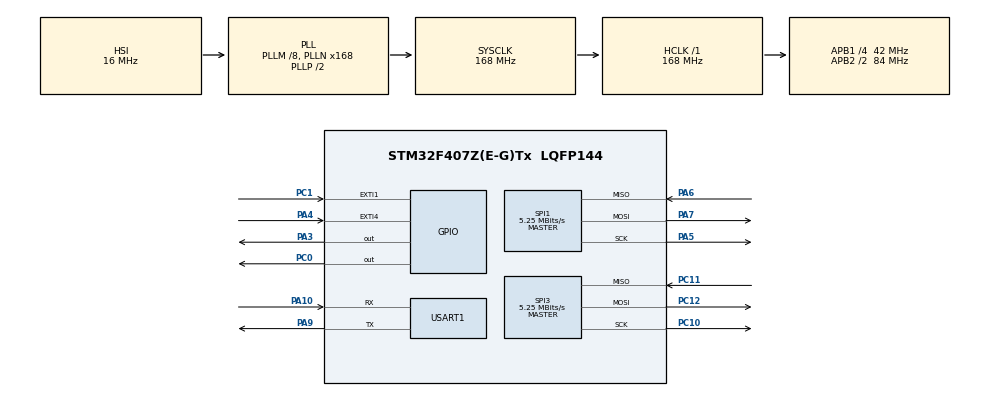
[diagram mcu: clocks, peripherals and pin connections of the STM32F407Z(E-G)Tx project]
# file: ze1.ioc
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FREERTOS.BinarySemaphores01=xa1,Dynamic,NULL;xa2,Dynamic,NULL
FREERTOS.Tasks01=x1Task,24,512,StartTask01,Default,NULL,Dynamic,NULL,NULL;x2Task,24,512,StartTask02,Default,NULL,Dynamic,NULL,NULL;x3Task,8,128,StartTask03,Default,NULL,Dynamic,NULL,NULL
Mcu.Family=STM32F4
Mcu.Name=STM32F407Z(E-G)Tx
Mcu.Package=LQFP144
NVIC.EXTI1_IRQn=true\:5\:0\:false\:false\:true\:true\:true\:true
NVIC.EXTI4_IRQn=true\:5\:0\:false\:false\:true\:true\:true\:true
NVIC.PriorityGroup=NVIC_PRIORITYGROUP_4
NVIC.TIM7_IRQn=true\:0\:0\:false\:false\:true\:false\:false\:true
NVIC.TimeBase=TIM7_IRQn
NVIC.TimeBaseIP=TIM7
PA10.Mode=Asynchronous
PA10.Signal=USART1_RX
PA3.Signal=GPIO_Output
PA4.GPIO_ModeDefaultEXTI=GPIO_MODE_IT_FALLING
PA4.Signal=GPXTI4
PA5.Mode=Full_Duplex_Master
PA5.Signal=SPI1_SCK
PA6.Mode=Full_Duplex_Master
PA6.Signal=SPI1_MISO
PA7.Mode=Full_Duplex_Master
PA7.Signal=SPI1_MOSI
PA9.Mode=Asynchronous
PA9.Signal=USART1_TX
PC0.Signal=GPIO_Output
PC1.GPIO_ModeDefaultEXTI=GPIO_MODE_IT_FALLING
PC1.Signal=GPXTI1
PC10.Mode=Full_Duplex_Master
PC10.Signal=SPI3_SCK
PC11.Mode=Full_Duplex_Master
PC11.Signal=SPI3_MISO
PC12.Mode=Full_Duplex_Master
PC12.Signal=SPI3_MOSI
ProjectManager.HeapSize=0x200
ProjectManager.StackSize=0x400
ProjectManager.TargetToolchain=MDK-ARM V5.27
RCC.48MHZClocksFreq_Value=84000000
RCC.AHBFreq_Value=168000000
RCC.APB1CLKDivider=RCC_HCLK_DIV4
RCC.APB1Freq_Value=42000000
RCC.APB1TimFreq_Value=84000000
RCC.APB2CLKDivider=RCC_HCLK_DIV2
RCC.APB2Freq_Value=84000000
RCC.APB2TimFreq_Value=168000000
RCC.CortexFreq_Value=168000000
RCC.HCLKFreq_Value=168000000
RCC.HSE_VALUE=25000000
RCC.HSI_VALUE=16000000
RCC.LSE_VALUE=32768
RCC.PLLM=8
RCC.PLLN=168
RCC.SYSCLKFreq_VALUE=168000000
RCC.SYSCLKSource=RCC_SYSCLKSOURCE_PLLCLK
RCC.VCOOutputFreq_Value=336000000
SPI1.BaudRatePrescaler=SPI_BAUDRATEPRESCALER_16
SPI1.CalculateBaudRate=5.25 MBits/s
SPI1.Direction=SPI_DIRECTION_2LINES
SPI1.Mode=SPI_MODE_MASTER
SPI1.VirtualType=VM_MASTER
SPI3.BaudRatePrescaler=SPI_BAUDRATEPRESCALER_8
SPI3.CalculateBaudRate=5.25 MBits/s
SPI3.Direction=SPI_DIRECTION_2LINES
SPI3.Mode=SPI_MODE_MASTER
SPI3.VirtualType=VM_MASTER
USART1.VirtualMode=VM_ASYNC
VP_FREERTOS_VS_CMSIS_V2.Mode=CMSIS_V2
VP_SYS_VS_tim7.Mode=TIM7
board=custom

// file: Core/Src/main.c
/* USER CODE BEGIN Header */
/**
  ******************************************************************************
  * @file           : main.c
  * @brief          : Main program body
  ******************************************************************************
  * @attention
  *
  * <h2><center>&copy; Copyright (c) 2021 STMicroelectronics.
  * All rights reserved.</center></h2>
  *
  * This software component is licensed by ST under BSD 3-Clause license,
  * the "License"; You may not use this file except in compliance with the
  * License. You may obtain a copy of the License at:
  *                        opensource.org/licenses/BSD-3-Clause
  *
  ******************************************************************************
  */
/* USER CODE END Header */
#include "main.h"
#include "cmsis_os.h"
#include "spi.h"
#include "usart.h"
#include "gpio.h"

void SystemClock_Config(void);
void MX_FREERTOS_Init(void);

/* USER CODE BEGIN 0 */
int fputc(int ch,FILE *f)
{
    uint8_t temp[1]={ch};
    HAL_UART_Transmit(&huart1,temp,1,2);
		return 0;
}
/* USER CODE END 0 */

int main(void)
{

  /* MCU Configuration--------------------------------------------------------*/

  /* Reset of all peripherals, Initializes the Flash interface and the Systick. */
  HAL_Init();

  /* Configure the system clock */
  SystemClock_Config();

  /* Initialize all configured peripherals */
  MX_GPIO_Init();
  MX_SPI1_Init();
  MX_SPI3_Init();
  MX_USART1_UART_Init();
  /* USER CODE BEGIN 2 */
InitA7131();
InitA71312();
  /* USER CODE END 2 */

  /* Init scheduler */
  osKernelInitialize();  /* Call init function for freertos objects (in freertos.c) */
  MX_FREERTOS_Init();
  /* Start scheduler */
  osKernelStart();

  /* We should never get here as control is now taken by the scheduler */
  /* Infinite loop */
  /* USER CODE BEGIN WHILE */
  while (1)
  {
		printf("dsfds\n");
		HAL_Delay(1000);
    /* USER CODE END WHILE */

  }
}

void SystemClock_Config(void)
{
  RCC_OscInitTypeDef RCC_OscInitStruct = {0};
  RCC_ClkInitTypeDef RCC_ClkInitStruct = {0};

  /** Configure the main internal regulator output voltage
  */
  __HAL_RCC_PWR_CLK_ENABLE();
  __HAL_PWR_VOLTAGESCALING_CONFIG(PWR_REGULATOR_VOLTAGE_SCALE1);
  /** Initializes the RCC Oscillators according to the specified parameters
  * in the RCC_OscInitTypeDef structure.
  */
  RCC_OscInitStruct.OscillatorType = RCC_OSCILLATORTYPE_HSI;
  RCC_OscInitStruct.HSIState = RCC_HSI_ON;
  RCC_OscInitStruct.HSICalibrationValue = RCC_HSICALIBRATION_DEFAULT;
  RCC_OscInitStruct.PLL.PLLState = RCC_PLL_ON;
  RCC_OscInitStruct.PLL.PLLSource = RCC_PLLSOURCE_HSI;
  RCC_OscInitStruct.PLL.PLLM = 8;
  RCC_OscInitStruct.PLL.PLLN = 168;
  RCC_OscInitStruct.PLL.PLLP = RCC_PLLP_DIV2;
  RCC_OscInitStruct.PLL.PLLQ = 4;
  if (HAL_RCC_OscConfig(&RCC_OscInitStruct) != HAL_OK)
  {
    Error_Handler();
  }
  /** Initializes the CPU, AHB and APB buses clocks
  */
  RCC_ClkInitStruct.ClockType = RCC_CLOCKTYPE_HCLK|RCC_CLOCKTYPE_SYSCLK
                              |RCC_CLOCKTYPE_PCLK1|RCC_CLOCKTYPE_PCLK2;
  RCC_ClkInitStruct.SYSCLKSource = RCC_SYSCLKSOURCE_PLLCLK;
  RCC_ClkInitStruct.AHBCLKDivider = RCC_SYSCLK_DIV1;
  RCC_ClkInitStruct.APB1CLKDivider = RCC_HCLK_DIV4;
  RCC_ClkInitStruct.APB2CLKDivider = RCC_HCLK_DIV2;

  if (HAL_RCC_ClockConfig(&RCC_ClkInitStruct, FLASH_LATENCY_5) != HAL_OK)
  {
    Error_Handler();
  }
}

 /**
  * @brief  Period elapsed callback in non blocking mode
  * @note   This function is called  when TIM7 interrupt took place, inside
  * HAL_TIM_IRQHandler(). It makes a direct call to HAL_IncTick() to increment
  * a global variable "uwTick" used as application time base.
  * @param  htim : TIM handle
  * @retval None
  */
void HAL_TIM_PeriodElapsedCallback(TIM_HandleTypeDef *htim)
{
  if (htim->Instance == TIM7) {
    HAL_IncTick();
  }
}

void Error_Handler(void)
{
  __disable_irq();
  while (1)
  {
  }
}

/************************ (C) COPYRIGHT STMicroelectronics *****END OF FILE****/

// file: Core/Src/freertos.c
/* USER CODE BEGIN Header */
/**
  ******************************************************************************
  * File Name          : freertos.c
  * Description        : Code for freertos applications
  ******************************************************************************
  * @attention
  *
  * <h2><center>&copy; Copyright (c) 2021 STMicroelectronics.
  * All rights reserved.</center></h2>
  *
  * This software component is licensed by ST under Ultimate Liberty license
  * SLA0044, the "License"; You may not use this file except in compliance with
  * the License. You may obtain a copy of the License at:
  *                             www.st.com/SLA0044
  *
  ******************************************************************************
  */
/* USER CODE END Header */

#include "FreeRTOS.h"
#include "task.h"
#include "main.h"
#include "cmsis_os.h"

/* Definitions for x1Task */
osThreadId_t x1TaskHandle;
const osThreadAttr_t x1Task_attributes = {
  .name = "x1Task",
  .priority = (osPriority_t) osPriorityNormal,
  .stack_size = 512 * 4
};
/* Definitions for x2Task */
osThreadId_t x2TaskHandle;
const osThreadAttr_t x2Task_attributes = {
  .name = "x2Task",
  .priority = (osPriority_t) osPriorityNormal,
  .stack_size = 512 * 4
};
/* Definitions for x3Task */
osThreadId_t x3TaskHandle;
const osThreadAttr_t x3Task_attributes = {
  .name = "x3Task",
  .priority = (osPriority_t) osPriorityLow,
  .stack_size = 128 * 4
};
/* Definitions for xa1 */
osSemaphoreId_t xa1Handle;
const osSemaphoreAttr_t xa1_attributes = {
  .name = "xa1"
};
/* Definitions for xa2 */
osSemaphoreId_t xa2Handle;
const osSemaphoreAttr_t xa2_attributes = {
  .name = "xa2"
};

void StartTask01(void *argument);
void StartTask02(void *argument);
void StartTask03(void *argument);

void MX_FREERTOS_Init(void); /* (MISRA C 2004 rule 8.1) */

void MX_FREERTOS_Init(void) {

  /* Create the semaphores(s) */
  /* creation of xa1 */
  xa1Handle = osSemaphoreNew(1, 1, &xa1_attributes);

  /* creation of xa2 */
  xa2Handle = osSemaphoreNew(1, 1, &xa2_attributes);

  /* Create the thread(s) */
  /* creation of x1Task */
  x1TaskHandle = osThreadNew(StartTask01, NULL, &x1Task_attributes);

  /* creation of x2Task */
  x2TaskHandle = osThreadNew(StartTask02, NULL, &x2Task_attributes);

  /* creation of x3Task */
  x3TaskHandle = osThreadNew(StartTask03, NULL, &x3Task_attributes);

}

/* USER CODE BEGIN Header_StartTask01 */
/**
  * @brief  Function implementing the x1Task thread.
  * @param  argument: Not used
  * @retval None
  */
	int s=0;
unsigned char MasterSend[64];
unsigned char MasterPkgIndex=0;
/* USER CODE END Header_StartTask01 */
void StartTask01(void *argument)
{
  /* USER CODE BEGIN StartTask01 */
	A7131_WriteReg( PLL1_REG, 155 );
		int timeoutSend=0;
		int timeoutReceive=0;
	int wantWrite=1;
  /* Infinite loop */
  for(;;)
  {
		if(wantWrite){
			wantWrite=0;
			MasterSend[0]=MasterPkgIndex;
      WriteThing(MasterSend);
		}
			StrobeCmd( CMD_TX );
			if(osSemaphoreAcquire(xa1Handle,5)==osOK){
				timeoutSend=0;
			}else{
				timeoutSend=1;
			}
			if(timeoutSend==1){
				continue;
			}
			StrobeCmd(CMD_RX);
			if(osSemaphoreAcquire(xa1Handle,5)==osOK){
				wantWrite=1;
				timeoutReceive=0;
			}else{
				timeoutReceive=1;
			}
			if(timeoutReceive==1){
				StrobeCmd(CMD_STBY);
				continue;
			}
			if((A7131_ReadReg(MODE_REG)&0x20)==0)
			{
				ReadFIFO(64);
				if(RfBuf[0]==MasterPkgIndex){
						MasterPkgIndex++;
					s++;
					wantWrite=1;
				}else{
					wantWrite=0;
				}
			}

  }
  /* USER CODE END StartTask01 */
}

void StartTask02(void *argument)
{
  /* USER CODE BEGIN StartTask02 */
		int ReceiveTimeout=0;
		int SendTimeout=0;
	A7131_WriteReg2( PLL1_REG, 155 );
  /* Infinite loop */
  for(;;)
  {
			StrobeCmd2(CMD_RX);
			if(osSemaphoreAcquire(xa2Handle,20)==osOK){
				ReceiveTimeout=0;
			}else{
				ReceiveTimeout=1;
			}
			if(ReceiveTimeout==1){
				StrobeCmd2(CMD_STBY);
				continue;
			}
			if((A7131_ReadReg2(MODE_REG)&0x20)==0)
			{
					ReadFIFO2(64);
					StrobeCmd2(CMD_STBY);
					WriteThing2(RfBuf2);
					StrobeCmd2(CMD_TX);
					osSemaphoreAcquire(xa2Handle,20);
			}
  }
  /* USER CODE END StartTask02 */
}

void StartTask03(void *argument)
{
  /* USER CODE BEGIN StartTask03 */

  /* Infinite loop */
  for(;;)
  {
		printf("sdfds %d\n",s);
		s=0;
    osDelay(1000);
  }
  /* USER CODE END StartTask03 */
}

/* USER CODE BEGIN Application */
void HAL_GPIO_EXTI_Callback(uint16_t GPIO_Pin){
		if (GPIO_Pin&GPIO_PIN_1) {
			osSemaphoreRelease(xa2Handle);
		}
    if (GPIO_Pin&GPIO_PIN_4) {
			osSemaphoreRelease(xa1Handle);
		}

}
/* USER CODE END Application */

/************************ (C) COPYRIGHT STMicroelectronics *****END OF FILE****/
